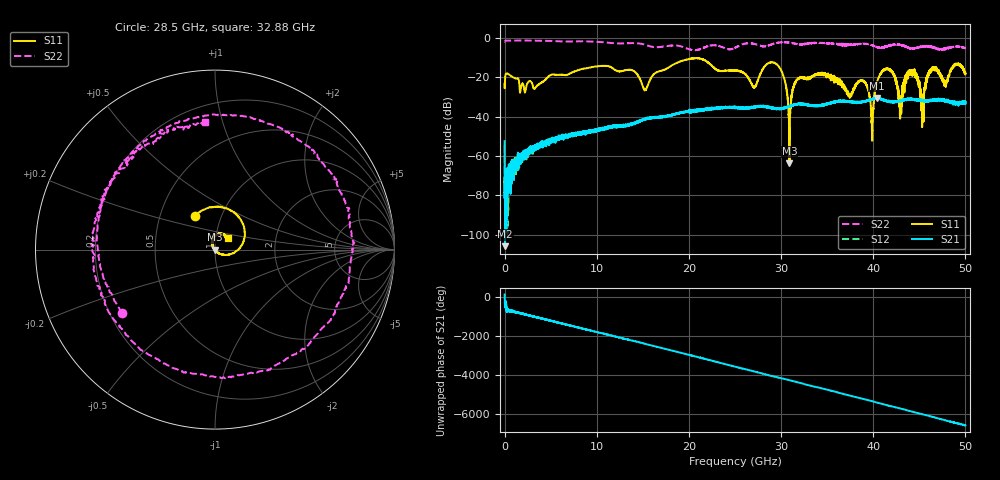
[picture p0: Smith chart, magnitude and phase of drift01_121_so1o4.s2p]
!Created with skrf (http://scikit-rf.org).
# Hz S RI R 50.0
!freq ReS11 ImS11 ReS21 ImS21 ReS12 ImS12 ReS22 ImS22
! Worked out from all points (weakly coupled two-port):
!   10001 points, 300 kHz to 50 GHz, reference 50 ohm
!   highest |S21| = -30.48 dB at 40.37 GHz (marker M1); lowest = -105.8 dB at 50.3 MHz (marker M2)
!   lowest |S11| = -63.6 dB at 30.91 GHz (marker M3), VSWR 1.00, Z = 49.9 - j0.0155 ohm
!   |S11| at or under -10 dB: start of sweep to end of sweep
!   |S22| runs from -6.3 to -1.4 dB; largest |S21 - S12| = 0.0041
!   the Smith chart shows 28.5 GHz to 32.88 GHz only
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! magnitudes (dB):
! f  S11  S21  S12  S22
! 300 kHz  -23.4  -52.4  -54.7  -2.1
! 50.3 MHz  -20.6  -105.8  -81.7  -1.6
! 255.3 MHz  -18.1  -70.2  -77.3  -1.4
! 2.39 GHz  -24.0  -58.0  -59.0  -1.4
! 8.335 GHz  -15.9  -47.9  -48.8  -1.8
! 15.24 GHz  -26.5  -41.0  -41.0  -3.5
! 16.67 GHz  -17.1  -40.1  -40.3  -4.8
! 25 GHz  -16.6  -35.2  -35.4  -5.0
! 27.1 GHz  -25.3  -35.2  -35.1  -3.1
! 29.44 GHz  -13.1  -36.1  -36.0  -2.7
! 30.91 GHz  -63.6  -34.5  -34.7  -2.5
! 31.66 GHz  -21.6  -33.9  -33.8  -3.2
! 33.34 GHz  -19.8  -34.4  -34.3  -2.7
! 38.91 GHz  -22.1  -32.3  -32.6  -3.0
! 39.86 GHz  -47.1  -31.3  -31.2  -3.7
! 40.37 GHz  -23.3  -30.5  -30.8  -4.8
! 41.67 GHz  -15.9  -32.3  -32.5  -4.2
! 42.91 GHz  -30.7  -32.0  -32.0  -3.7
! 43.97 GHz  -17.4  -31.0  -31.2  -5.3
! 45.31 GHz  -45.4  -32.0  -32.1  -4.4
! 46.42 GHz  -15.4  -32.0  -31.9  -4.7
! 50 GHz  -17.6  -33.3  -32.4  -5.3
